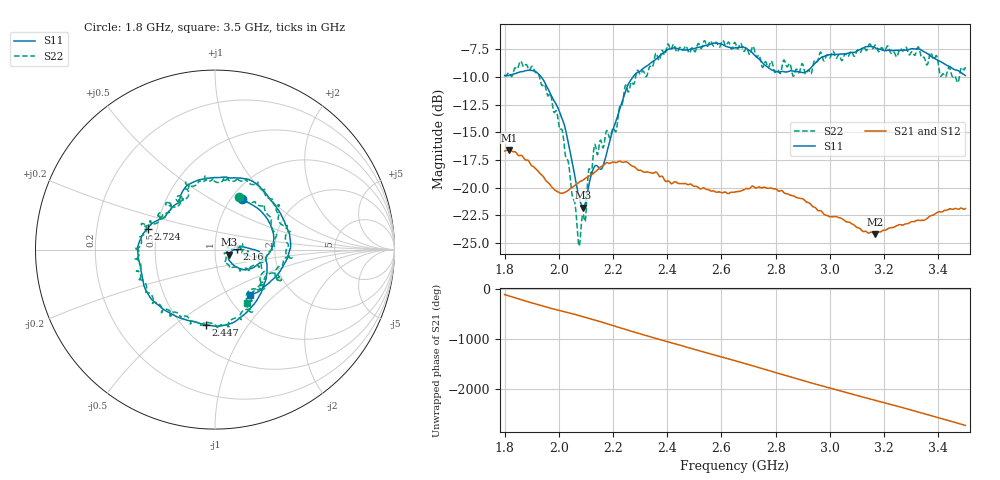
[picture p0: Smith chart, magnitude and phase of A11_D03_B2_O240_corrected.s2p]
! Created with skrf 1.9.0 (http://scikit-rf.org).
# Hz S RI R 50.0
!freq ReS11 ImS11 ReS21 ImS21 ReS12 ImS12 ReS22 ImS22
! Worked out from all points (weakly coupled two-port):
!   1601 points, 1.8 GHz to 3.5 GHz, reference 50 ohm
!   highest |S21| = -16.58 dB at 1.817 GHz (marker M1); lowest = -24.2 dB at 3.165 GHz (marker M2)
!   lowest |S11| = -21.8 dB at 2.09 GHz (marker M3), VSWR 1.18, Z = 58.2 - j3.29 ohm
!   |S11| at or under -10 dB: 1.935 GHz to 2.274 GHz (338.7 MHz wide, 16.1 % of centre)
!   |S22| runs from -25.3 to -6.7 dB; largest |S21 - S12| = 0.0025
!   S11 on the Smith chart (normalised r, x): 1.8 GHz: 1.13, +0.71; 2.16 GHz: 1.28, +0.01; 2.447 GHz: 0.64, -0.65; 2.724 GHz: 0.44, +0.12; 3.5 GHz: 1.26, -0.71
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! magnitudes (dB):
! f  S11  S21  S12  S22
! 1.8 GHz  -9.9  -16.7  -16.7  -9.8
! 1.817 GHz  -9.9  -16.6  -16.6  -9.6
! 1.903 GHz  -9.4  -18.1  -18.0  -9.1
! 1.968 GHz  -11.5  -19.7  -19.8  -11.5
! 2.015 GHz  -13.9  -20.5  -20.5  -15.1
! 2.072 GHz  -20.5  -19.6  -19.6  -24.9
! 2.084 GHz  -21.6  -19.4  -19.3  -23.1
! 2.09 GHz  -21.8  -19.3  -19.3  -22.4
! 2.13 GHz  -18.1  -18.6  -18.6  -16.3
! 2.16 GHz  -18.2  -18.0  -18.0  -16.2
! 2.258 GHz  -10.6  -17.8  -17.8  -11.3
! 2.367 GHz  -8.2  -18.8  -18.8  -8.5
! 2.447 GHz  -7.5  -19.6  -19.6  -7.3
! 2.65 GHz  -7.4  -20.4  -20.3  -6.9
! 2.724 GHz  -8.1  -20.0  -20.0  -7.9
! 2.803 GHz  -9.5  -20.1  -20.2  -9.4
! 2.934 GHz  -9.1  -21.6  -21.6  -9.5
! 3.165 GHz  -7.4  -24.2  -24.1  -7.2
! 3.217 GHz  -7.6  -23.7  -23.6  -7.4
! 3.376 GHz  -8.2  -22.5  -22.5  -7.9
! 3.468 GHz  -9.4  -21.9  -21.9  -10.4
! 3.5 GHz  -9.9  -21.9  -21.9  -9.1
